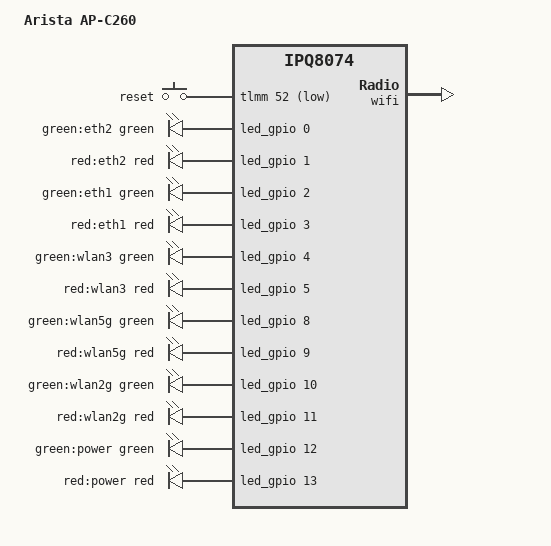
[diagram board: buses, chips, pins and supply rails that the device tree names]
// SPDX-License-Identifier: GPL-2.0-or-later OR MIT

/dts-v1/;

#include "ipq8076-arista.dtsi"

/ {
	model = "Arista AP-C260";
	compatible = "arista,c260", "qcom,ipq8074";

	keys {
		compatible = "gpio-keys";

		reset {
			label = "reset";
			gpios = <&tlmm 52 GPIO_ACTIVE_LOW>;
			linux,code = <KEY_RESTART>;
			debounce-interval = <60>;
		};
	};

	leds {
		compatible = "gpio-leds";

		led_eth2_green: eth2-green {
			label = "green:eth2";
			color = <LED_COLOR_ID_GREEN>;
			function = LED_FUNCTION_LAN;
			gpios = <&led_gpio 0 GPIO_ACTIVE_HIGH>;
			default-state = "off";
		};

		led_eth2_red: eth2-red {
			label = "red:eth2";
			color = <LED_COLOR_ID_RED>;
			function = LED_FUNCTION_LAN;
			gpios = <&led_gpio 1 GPIO_ACTIVE_HIGH>;
			default-state = "off";
		};

		led_eth1_green: eth1-green {
			label = "green:eth1";
			color = <LED_COLOR_ID_GREEN>;
			function = LED_FUNCTION_LAN;
			gpios = <&led_gpio 2 GPIO_ACTIVE_HIGH>;
			default-state = "off";
		};

		led_eth1_red: eth1-red {
			label = "red:eth1";
			color = <LED_COLOR_ID_RED>;
			function = LED_FUNCTION_LAN;
			gpios = <&led_gpio 3 GPIO_ACTIVE_HIGH>;
			default-state = "off";
		};

		led_wlan3_green: wlan3-green {
			label = "green:wlan3";
			color = <LED_COLOR_ID_GREEN>;
			function = LED_FUNCTION_WLAN;
			gpios = <&led_gpio 4 GPIO_ACTIVE_HIGH>;
			default-state = "off";
		};

		led_wlan3_red: wlan3-red {
			label = "red:wlan3";
			color = <LED_COLOR_ID_RED>;
			function = LED_FUNCTION_WLAN;
			gpios = <&led_gpio 5 GPIO_ACTIVE_HIGH>;
			default-state = "off";
		};

		led_wlan5g_green: wlan5g-green {
			label = "green:wlan5g";
			color = <LED_COLOR_ID_GREEN>;
			function = LED_FUNCTION_WLAN_5GHZ;
			gpios = <&led_gpio 8 GPIO_ACTIVE_HIGH>;
			default-state = "off";
		};

		led_wlan5g_red: wlan5g-red {
			label = "red:wlan5g";
			color = <LED_COLOR_ID_RED>;
			function = LED_FUNCTION_WLAN_5GHZ;
			gpios = <&led_gpio 9 GPIO_ACTIVE_HIGH>;
			default-state = "off";
		};

		led_wlan2g_green: wlan2g-green {
			label = "green:wlan2g";
			color = <LED_COLOR_ID_GREEN>;
			function = LED_FUNCTION_WLAN_2GHZ;
			gpios = <&led_gpio 10 GPIO_ACTIVE_HIGH>;
			default-state = "off";
		};

		led_wlan2g_red: wlan2g-red {
			label = "red:wlan2g";
			color = <LED_COLOR_ID_RED>;
			function = LED_FUNCTION_WLAN_2GHZ;
			gpios = <&led_gpio 11 GPIO_ACTIVE_HIGH>;
			default-state = "off";
		};

		led_power_green: power-green {
			label = "green:power";
			color = <LED_COLOR_ID_GREEN>;
			function = LED_FUNCTION_POWER;
			gpios = <&led_gpio 12 GPIO_ACTIVE_HIGH>;
			default-state = "on";
		};

		led_power_red: power-red {
			label = "red:power";
			color = <LED_COLOR_ID_RED>;
			function = LED_FUNCTION_POWER;
			gpios = <&led_gpio 13 GPIO_ACTIVE_HIGH>;
			default-state = "off";
		};
	};
};

&pcie0 {
	status = "disabled";
};

&pcie_qmp0 {
	status = "disabled";
};

&wifi {
	status = "okay";
	qcom,ath11k-fw-memory-mode = <1>;
	qcom,ath11k-calibration-variant = "Arista-C260";
};
